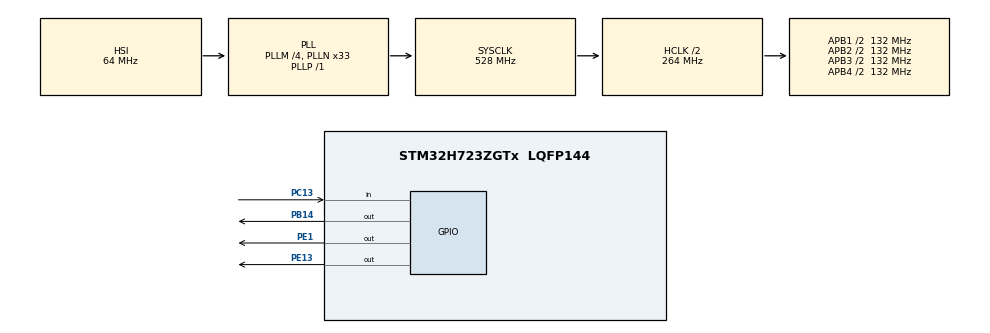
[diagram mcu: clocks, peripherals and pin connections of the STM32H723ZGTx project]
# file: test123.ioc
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CORTEX_M7.default_mode_Activation=1
Mcu.Family=STM32H7
Mcu.Name=STM32H723ZGTx
Mcu.Package=LQFP144
NUCLEO-H723ZG.BUTTON=1
NUCLEO-H723ZG.LD1=true
NUCLEO-H723ZG.LD2=true
NUCLEO-H723ZG.LD3=true
NUCLEO-H723ZG.VCP=true
NVIC.EXTI15_10_IRQn=true\:0\:0\:false\:false\:true\:false\:true\:true
NVIC.PriorityGroup=NVIC_PRIORITYGROUP_4
PA13(JTMS/SWDIO).GPIO_Label=SWDIO
PA13(JTMS/SWDIO).Signal=DEBUG_JTMS-SWDIO
PA14(JTCK/SWCLK).GPIO_Label=SWCLK
PA14(JTCK/SWCLK).Signal=DEBUG_JTCK-SWCLK
PA4.Signal=SPI1_NSS
PA5.Signal=SPI1_SCK
PA6.Signal=SPI1_MISO
PA7.Signal=SPI1_MOSI
PB0.Signal=USB_OTG_HS_ULPI_D1
PB14.Signal=GPIO_Output
PC13.Signal=GPIO_Input
PC14-OSC32_IN.Signal=RCC_OSC32_IN
PC15-OSC32_OUT.Signal=RCC_OSC32_OUT
PD8.Signal=USART3_TX
PD9.Signal=USART3_RX
PE1.Signal=GPIO_Output
PE13.Signal=GPIO_Output
ProjectManager.HeapSize=0x200
ProjectManager.StackSize=0x400
ProjectManager.TargetToolchain=Makefile
RCC.ADCFreq_Value=608000000
RCC.APB1Freq_Value=132000000
RCC.APB2Freq_Value=132000000
RCC.APB3Freq_Value=132000000
RCC.APB4Freq_Value=132000000
RCC.CortexFreq_Value=528000000
RCC.D1PPRE=RCC_APB3_DIV2
RCC.D2PPRE1=RCC_APB1_DIV2
RCC.D2PPRE2=RCC_APB2_DIV2
RCC.D3PPRE=RCC_APB4_DIV2
RCC.DIVM1=4
RCC.DIVM2=1
RCC.DIVN1=33
RCC.DIVN2=19
RCC.DIVP1=1
RCC.DIVQ1=4
RCC.HCLKFreq_Value=264000000
RCC.HPRE=RCC_HCLK_DIV2
RCC.HSE_VALUE=8000000
RCC.PLLFRACN=0
RCC.SYSCLKFreq_VALUE=528000000
RCC.SYSCLKSource=RCC_SYSCLKSOURCE_PLLCLK
RCC.USBCLockSelection=RCC_USBCLKSOURCE_HSI48
RCC.USBFreq_Value=48000000
VP_MEMORYMAP_VS_MEMORYMAP.Mode=CurAppReg
VP_NUCLEO-H723ZG_VS_BSP_COMMON.Mode=COMMON
board=NUCLEO-H723ZG

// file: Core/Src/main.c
/* USER CODE BEGIN Header */
/**
 ******************************************************************************
 * @file           : main.c
 * @brief          : Main program body
 ******************************************************************************
 * @attention
 *
 * Copyright (c) 2025 STMicroelectronics.
 * All rights reserved.
 *
 * This software is licensed under terms that can be found in the LICENSE file
 * in the root directory of this software component.
 * If no LICENSE file comes with this software, it is provided AS-IS.
 *
 ******************************************************************************
 */
/* USER CODE END Header */
#include "main.h"

/* USER CODE BEGIN Includes */
#include <string.h>
#include "cpu_usage.h"
/* USER CODE END Includes */

COM_InitTypeDef BspCOMInit;

/* USER CODE BEGIN PV */

CPU_TIMER ctime;

uint32_t last_time_1 = 0;
uint32_t last_time_5 = 0;
uint32_t last_time_20 = 0;
uint32_t last_time_100 = 0;
uint32_t curr_time = 0;

/* USER CODE END PV */

void SystemClock_Config(void);
static void MPU_Config(void);
static void MX_GPIO_Init(void);

int main(void)
{

  /* USER CODE BEGIN 1 */

  // initialize cpu timer
  cpu_timer_init(&ctime);

  /* USER CODE END 1 */

  /* MPU Configuration--------------------------------------------------------*/
  MPU_Config();

  /* MCU Configuration--------------------------------------------------------*/

  /* Reset of all peripherals, Initializes the Flash interface and the Systick. */
  HAL_Init();

  /* Configure the system clock */
  SystemClock_Config();

  /* Initialize all configured peripherals */
  MX_GPIO_Init();

  /* Initialize leds */
  BSP_LED_Init(LED_GREEN);
  BSP_LED_Init(LED_YELLOW);
  BSP_LED_Init(LED_RED);

  /* Initialize USER push-button, will be used to trigger an interrupt each time it's pressed.*/
  BSP_PB_Init(BUTTON_USER, BUTTON_MODE_EXTI);

  /* Initialize COM1 port (115200, 8 bits (7-bit data + 1 stop bit), no parity */
  BspCOMInit.BaudRate   = 115200;
  BspCOMInit.WordLength = COM_WORDLENGTH_8B;
  BspCOMInit.StopBits   = COM_STOPBITS_1;
  BspCOMInit.Parity     = COM_PARITY_NONE;
  BspCOMInit.HwFlowCtl  = COM_HWCONTROL_NONE;
  if (BSP_COM_Init(COM1, &BspCOMInit) != BSP_ERROR_NONE)
  {
    Error_Handler();
  }

  /* Infinite loop */
  /* USER CODE BEGIN WHILE */

  while (1)
  {

    curr_time = HAL_GetTick();

    if (curr_time - last_time_1 > 1000)
    {
      // begin job
      cpu_job_start(&ctime);

      // 5hz
      last_time_1 = HAL_GetTick();

      // perform 1hz function
      float ratio = cpu_timer_period(&ctime); // e.g., 12.34
      int ratio_int = (int)(ratio * 100);     // scale to 0–10000
      char out[32];
      snprintf(out, sizeof(out), "Ratio: %d.%02d\n", ratio_int / 100, ratio_int % 100);
      HAL_UART_Transmit(&hcom_uart[COM1], (uint8_t *)out, strlen(out), HAL_MAX_DELAY);

      // end job
      cpu_job_end(&ctime);
    }

    if (curr_time - last_time_5 > 200)
    {
      // begin job
      cpu_job_start(&ctime);

      // 5hz
      last_time_5 = HAL_GetTick();

      // perform 5hz function
      BSP_LED_Toggle(LED_YELLOW);
      char time[11];
      snprintf(time, sizeof(time), "%u", HAL_GetTick());
      char out[32];
      sprintf(out, "Time_5: %s\n", time);
      HAL_UART_Transmit(&hcom_uart[COM1], out, strlen(out), HAL_MAX_DELAY);

      // end job
      cpu_job_end(&ctime);
    }

    if (curr_time - last_time_20 > 50)
    {
      // begin job
      cpu_job_start(&ctime);

      // 20 hz
      last_time_20 = HAL_GetTick();

      // perform 20hz function
      BSP_LED_Toggle(LED_GREEN);
      char time[11];
      snprintf(time, sizeof(time), "%u", HAL_GetTick());
      char out[32];
      sprintf(out, "Time_20: %s\n", time);
      HAL_UART_Transmit(&hcom_uart[COM1], out, strlen(out), HAL_MAX_DELAY);

      // end job
      cpu_job_end(&ctime);
    }

    if (curr_time - last_time_100 > 10)
    {
      // begin job
      cpu_job_start(&ctime);

      // 100 hz
      last_time_100 = HAL_GetTick();

      // perfomr 100hz function
      BSP_LED_Toggle(LED_RED);
      char time[11];
      snprintf(time, sizeof(time), "%u", HAL_GetTick());
      char out[32];
      sprintf(out, "Time_100: %s\n", time);
      HAL_UART_Transmit(&hcom_uart[COM1], out, strlen(out), HAL_MAX_DELAY);

      // end job
      cpu_job_end(&ctime);
    }

    /* USER CODE END WHILE */

  }
}

void SystemClock_Config(void)
{
  RCC_OscInitTypeDef RCC_OscInitStruct = {0};
  RCC_ClkInitTypeDef RCC_ClkInitStruct = {0};

  /** Supply configuration update enable
  */
  HAL_PWREx_ConfigSupply(PWR_LDO_SUPPLY);

  /** Configure the main internal regulator output voltage
  */
  __HAL_PWR_VOLTAGESCALING_CONFIG(PWR_REGULATOR_VOLTAGE_SCALE0);

  while(!__HAL_PWR_GET_FLAG(PWR_FLAG_VOSRDY)) {}

  /** Initializes the RCC Oscillators according to the specified parameters
  * in the RCC_OscInitTypeDef structure.
  */
  RCC_OscInitStruct.OscillatorType = RCC_OSCILLATORTYPE_HSI;
  RCC_OscInitStruct.HSIState = RCC_HSI_DIV1;
  RCC_OscInitStruct.HSICalibrationValue = 64;
  RCC_OscInitStruct.PLL.PLLState = RCC_PLL_ON;
  RCC_OscInitStruct.PLL.PLLSource = RCC_PLLSOURCE_HSI;
  RCC_OscInitStruct.PLL.PLLM = 4;
  RCC_OscInitStruct.PLL.PLLN = 33;
  RCC_OscInitStruct.PLL.PLLP = 1;
  RCC_OscInitStruct.PLL.PLLQ = 4;
  RCC_OscInitStruct.PLL.PLLR = 2;
  RCC_OscInitStruct.PLL.PLLRGE = RCC_PLL1VCIRANGE_3;
  RCC_OscInitStruct.PLL.PLLVCOSEL = RCC_PLL1VCOWIDE;
  RCC_OscInitStruct.PLL.PLLFRACN = 0;
  if (HAL_RCC_OscConfig(&RCC_OscInitStruct) != HAL_OK)
  {
    Error_Handler();
  }

  /** Initializes the CPU, AHB and APB buses clocks
  */
  RCC_ClkInitStruct.ClockType = RCC_CLOCKTYPE_HCLK|RCC_CLOCKTYPE_SYSCLK
                              |RCC_CLOCKTYPE_PCLK1|RCC_CLOCKTYPE_PCLK2
                              |RCC_CLOCKTYPE_D3PCLK1|RCC_CLOCKTYPE_D1PCLK1;
  RCC_ClkInitStruct.SYSCLKSource = RCC_SYSCLKSOURCE_PLLCLK;
  RCC_ClkInitStruct.SYSCLKDivider = RCC_SYSCLK_DIV1;
  RCC_ClkInitStruct.AHBCLKDivider = RCC_HCLK_DIV2;
  RCC_ClkInitStruct.APB3CLKDivider = RCC_APB3_DIV2;
  RCC_ClkInitStruct.APB1CLKDivider = RCC_APB1_DIV2;
  RCC_ClkInitStruct.APB2CLKDivider = RCC_APB2_DIV2;
  RCC_ClkInitStruct.APB4CLKDivider = RCC_APB4_DIV2;

  if (HAL_RCC_ClockConfig(&RCC_ClkInitStruct, FLASH_LATENCY_3) != HAL_OK)
  {
    Error_Handler();
  }
}

static void MX_GPIO_Init(void)
{
  GPIO_InitTypeDef GPIO_InitStruct = {0};

  /* GPIO Ports Clock Enable */
  __HAL_RCC_GPIOC_CLK_ENABLE();
  __HAL_RCC_GPIOA_CLK_ENABLE();
  __HAL_RCC_GPIOB_CLK_ENABLE();
  __HAL_RCC_GPIOE_CLK_ENABLE();

  /*Configure GPIO pin Output Level */
  HAL_GPIO_WritePin(GPIOE, GPIO_PIN_13, GPIO_PIN_RESET);

  /*Configure GPIO pins : PA4 PA5 PA6 PA7 */
  GPIO_InitStruct.Pin = GPIO_PIN_4|GPIO_PIN_5|GPIO_PIN_6|GPIO_PIN_7;
  GPIO_InitStruct.Mode = GPIO_MODE_AF_PP;
  GPIO_InitStruct.Pull = GPIO_NOPULL;
  GPIO_InitStruct.Speed = GPIO_SPEED_FREQ_LOW;
  GPIO_InitStruct.Alternate = GPIO_AF5_SPI1;
  HAL_GPIO_Init(GPIOA, &GPIO_InitStruct);

  /*Configure GPIO pin : PB0 */
  GPIO_InitStruct.Pin = GPIO_PIN_0;
  GPIO_InitStruct.Mode = GPIO_MODE_AF_PP;
  GPIO_InitStruct.Pull = GPIO_NOPULL;
  GPIO_InitStruct.Speed = GPIO_SPEED_FREQ_HIGH;
  GPIO_InitStruct.Alternate = GPIO_AF10_OTG1_HS;
  HAL_GPIO_Init(GPIOB, &GPIO_InitStruct);

  /*Configure GPIO pin : PE13 */
  GPIO_InitStruct.Pin = GPIO_PIN_13;
  GPIO_InitStruct.Mode = GPIO_MODE_OUTPUT_PP;
  GPIO_InitStruct.Pull = GPIO_NOPULL;
  GPIO_InitStruct.Speed = GPIO_SPEED_FREQ_LOW;
  HAL_GPIO_Init(GPIOE, &GPIO_InitStruct);

}

 /* MPU Configuration */

void MPU_Config(void)
{
  MPU_Region_InitTypeDef MPU_InitStruct = {0};

  /* Disables the MPU */
  HAL_MPU_Disable();

  /** Initializes and configures the Region and the memory to be protected
  */
  MPU_InitStruct.Enable = MPU_REGION_ENABLE;
  MPU_InitStruct.Number = MPU_REGION_NUMBER0;
  MPU_InitStruct.BaseAddress = 0x0;
  MPU_InitStruct.Size = MPU_REGION_SIZE_4GB;
  MPU_InitStruct.SubRegionDisable = 0x87;
  MPU_InitStruct.TypeExtField = MPU_TEX_LEVEL0;
  MPU_InitStruct.AccessPermission = MPU_REGION_NO_ACCESS;
  MPU_InitStruct.DisableExec = MPU_INSTRUCTION_ACCESS_DISABLE;
  MPU_InitStruct.IsShareable = MPU_ACCESS_SHAREABLE;
  MPU_InitStruct.IsCacheable = MPU_ACCESS_NOT_CACHEABLE;
  MPU_InitStruct.IsBufferable = MPU_ACCESS_NOT_BUFFERABLE;

  HAL_MPU_ConfigRegion(&MPU_InitStruct);
  /* Enables the MPU */
  HAL_MPU_Enable(MPU_PRIVILEGED_DEFAULT);

}

void Error_Handler(void)
{
  __disable_irq();
  while (1)
  {
  }
}
